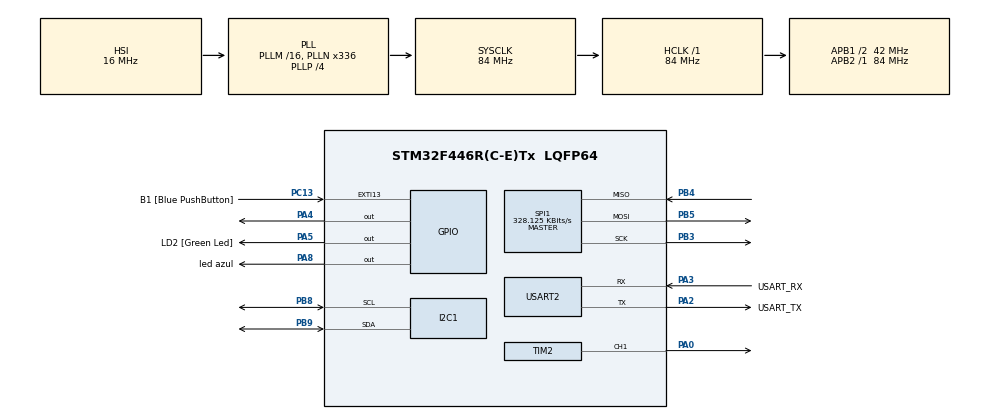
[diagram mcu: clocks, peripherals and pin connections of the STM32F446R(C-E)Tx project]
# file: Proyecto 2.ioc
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Mcu.Family=STM32F4
Mcu.Name=STM32F446R(C-E)Tx
Mcu.Package=LQFP64
NVIC.PriorityGroup=NVIC_PRIORITYGROUP_0
NVIC.USART2_IRQn=true\:0\:0\:false\:false\:true\:true\:true\:true
PA0-WKUP.Signal=S_TIM2_CH1_ETR
PA13.GPIO_Label=TMS
PA13.Signal=SYS_JTMS-SWDIO
PA14.GPIO_Label=TCK
PA14.Signal=SYS_JTCK-SWCLK
PA2.GPIO_Label=USART_TX
PA2.Mode=Asynchronous
PA2.Signal=USART2_TX
PA3.GPIO_Label=USART_RX
PA3.Mode=Asynchronous
PA3.Signal=USART2_RX
PA4.PinState=GPIO_PIN_SET
PA4.Signal=GPIO_Output
PA5.GPIO_Label=LD2 [Green Led]
PA5.Signal=GPIO_Output
PA8.GPIO_Label=led azul
PA8.Signal=GPIO_Output
PB3.Mode=Full_Duplex_Master
PB3.Signal=SPI1_SCK
PB4.Mode=Full_Duplex_Master
PB4.Signal=SPI1_MISO
PB5.Mode=Full_Duplex_Master
PB5.Signal=SPI1_MOSI
PB8.GPIO_Pu=GPIO_NOPULL
PB8.Mode=I2C
PB8.Signal=I2C1_SCL
PB9.GPIO_Pu=GPIO_NOPULL
PB9.Mode=I2C
PB9.Signal=I2C1_SDA
PC13.GPIO_Label=B1 [Blue PushButton]
PC13.GPIO_ModeDefaultEXTI=GPIO_MODE_IT_FALLING
PC13.Signal=GPXTI13
PC14-OSC32_IN.Signal=RCC_OSC32_IN
PC15-OSC32_OUT.Signal=RCC_OSC32_OUT
PH0-OSC_IN.Signal=RCC_OSC_IN
PH1-OSC_OUT.Signal=RCC_OSC_OUT
ProjectManager.HeapSize=0x200
ProjectManager.StackSize=0x400
ProjectManager.TargetToolchain=STM32CubeIDE
RCC.AHBFreq_Value=84000000
RCC.APB1CLKDivider=RCC_HCLK_DIV2
RCC.APB1Freq_Value=42000000
RCC.APB1TimFreq_Value=84000000
RCC.APB2Freq_Value=84000000
RCC.APB2TimFreq_Value=84000000
RCC.CortexFreq_Value=84000000
RCC.FLatency-AdvancedSettings=FLASH_LATENCY_2
RCC.HCLKFreq_Value=84000000
RCC.HSE_VALUE=8000000
RCC.HSI_VALUE=16000000
RCC.LSE_VALUE=32768
RCC.PLLN=336
RCC.PLLP=RCC_PLLP_DIV4
RCC.SYSCLKFreq_VALUE=84000000
RCC.SYSCLKSource=RCC_SYSCLKSOURCE_PLLCLK
RCC.USBFreq_Value=168000000
RCC.VCOOutputFreq_Value=336000000
SH.S_TIM2_CH1_ETR.0=TIM2_CH1,PWM Generation1 CH1
SPI1.BaudRatePrescaler=SPI_BAUDRATEPRESCALER_256
SPI1.CalculateBaudRate=328.125 KBits/s
SPI1.Direction=SPI_DIRECTION_2LINES
SPI1.Mode=SPI_MODE_MASTER
SPI1.VirtualType=VM_MASTER
TIM2.Channel-PWM\ Generation1\ CH1=TIM_CHANNEL_1
TIM2.Period=9999
TIM2.Prescaler=8399
TIM2.Pulse-PWM\ Generation1\ CH1=5000
USART2.VirtualMode=VM_ASYNC
VP_TIM2_VS_ClockSourceINT.Mode=Internal
board=NUCLEO-F446RE

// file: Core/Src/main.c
/* USER CODE BEGIN Header */
/**
  ******************************************************************************
  * @file           : main.c
  * @brief          : Main program body
  ******************************************************************************
  * @attention
  *
  * Copyright (c) 2026 STMicroelectronics.
  * All rights reserved.
  *
  * This software is licensed under terms that can be found in the LICENSE file
  * in the root directory of this software component.
  * If no LICENSE file comes with this software, it is provided AS-IS.
  *
  ******************************************************************************
  */
/* USER CODE END Header */
#include "main.h"

/* USER CODE BEGIN Includes */
#include <stdio.h>
#include <string.h>
/* USER CODE END Includes */

I2C_HandleTypeDef hi2c1;

SPI_HandleTypeDef hspi1;

TIM_HandleTypeDef htim2;

UART_HandleTypeDef huart2;

/* USER CODE BEGIN PV */

uint8_t dato;

volatile uint8_t comando = 0;
volatile uint8_t estado = 0;
volatile uint8_t indiceSPI = 0;
volatile uint32_t ultimoCaracter = 0;

char textoSPI[24];

uint8_t datosI2C[2];
uint16_t valorADC = 0;

/* USER CODE END PV */

void SystemClock_Config(void);
static void MX_GPIO_Init(void);
static void MX_I2C1_Init(void);
static void MX_SPI1_Init(void);
static void MX_TIM2_Init(void);
static void MX_USART2_UART_Init(void);
/* USER CODE BEGIN PFP */
void menu(void);
void leerpot(void);
void procesarSPI (void);
void enviarSPI(uint8_t led, uint16_t tiempo);
void configurarTimer(uint16_t tiempo);
/* USER CODE END PFP */

int main(void)
{

  /* MCU Configuration--------------------------------------------------------*/

  /* Reset of all peripherals, Initializes the Flash interface and the Systick. */
  HAL_Init();

  /* Configure the system clock */
  SystemClock_Config();

  /* Initialize all configured peripherals */
  MX_GPIO_Init();
  MX_I2C1_Init();
  MX_SPI1_Init();
  MX_TIM2_Init();
  MX_USART2_UART_Init();
  /* USER CODE BEGIN 2 */
  HAL_GPIO_WritePin(GPIOA, GPIO_PIN_4, GPIO_PIN_SET);
  HAL_UART_Receive_IT(&huart2, &dato, 1);
  menu();
  /* USER CODE END 2 */

  /* Infinite loop */
  /* USER CODE BEGIN WHILE */
  while (1)
  {
	  // OPCION 1: CONTROLAR LEDS POR SPI
		      if (comando == 1)
		      {
		          comando = 0;

		          char mensaje[] =
		              "\r\n===== CONTROL DE LEDS =====\r\n"
		              "1. LED Rojo\r\n"
		              "2. LED Verde\r\n"
		              "3. LED Azul\r\n"
		              "\r\nFormato: LED,tiempo(ms)\r\n"
		              "Ejemplo: 1,500\r\n"
		              "Ingrese comando: ";

		          HAL_UART_Transmit(&huart2,(uint8_t*)mensaje,strlen(mensaje), 100);
		      }

		      // OPCION 2: LECTURA I2C
		      if (comando == 2)
		      {
		          comando = 0;
		          leerpot();
		          menu();
		      }

		      // DETECTAR FINAL DEL COMANDO
		      if (estado == 1 && indiceSPI > 0)
		      {
		          if ((uint32_t)(HAL_GetTick() -ultimoCaracter) >= 150)
		          {
		              estado = 2;
		          }
		      }

		      // EJECUTAR COMANDO SPI Y ACTUALIZAR TIMER
		      if (estado == 2)
		      {
		          estado = 3;
		          textoSPI[indiceSPI] = '\0';
		          procesarSPI();
		          indiceSPI = 0;
		          estado = 0;
		          menu();
		      }

		      // COMANDO DEMASIADO LARGO
		      if (estado == 4)
		      {
		          estado = 3;

		          char mensaje[] =
		              "\r\nComando muy largo\r\n";

		          HAL_UART_Transmit(&huart2,(uint8_t*)mensaje,strlen(mensaje), 100);
		          indiceSPI = 0;
		          estado = 0;

		          menu();
		      }
    /* USER CODE END WHILE */

  }
}

void SystemClock_Config(void)
{
  RCC_OscInitTypeDef RCC_OscInitStruct = {0};
  RCC_ClkInitTypeDef RCC_ClkInitStruct = {0};

  /** Configure the main internal regulator output voltage
  */
  __HAL_RCC_PWR_CLK_ENABLE();
  __HAL_PWR_VOLTAGESCALING_CONFIG(PWR_REGULATOR_VOLTAGE_SCALE3);

  /** Initializes the RCC Oscillators according to the specified parameters
  * in the RCC_OscInitTypeDef structure.
  */
  RCC_OscInitStruct.OscillatorType = RCC_OSCILLATORTYPE_HSI;
  RCC_OscInitStruct.HSIState = RCC_HSI_ON;
  RCC_OscInitStruct.HSICalibrationValue = RCC_HSICALIBRATION_DEFAULT;
  RCC_OscInitStruct.PLL.PLLState = RCC_PLL_ON;
  RCC_OscInitStruct.PLL.PLLSource = RCC_PLLSOURCE_HSI;
  RCC_OscInitStruct.PLL.PLLM = 16;
  RCC_OscInitStruct.PLL.PLLN = 336;
  RCC_OscInitStruct.PLL.PLLP = RCC_PLLP_DIV4;
  RCC_OscInitStruct.PLL.PLLQ = 2;
  RCC_OscInitStruct.PLL.PLLR = 2;
  if (HAL_RCC_OscConfig(&RCC_OscInitStruct) != HAL_OK)
  {
    Error_Handler();
  }

  /** Initializes the CPU, AHB and APB buses clocks
  */
  RCC_ClkInitStruct.ClockType = RCC_CLOCKTYPE_HCLK|RCC_CLOCKTYPE_SYSCLK
                              |RCC_CLOCKTYPE_PCLK1|RCC_CLOCKTYPE_PCLK2;
  RCC_ClkInitStruct.SYSCLKSource = RCC_SYSCLKSOURCE_PLLCLK;
  RCC_ClkInitStruct.AHBCLKDivider = RCC_SYSCLK_DIV1;
  RCC_ClkInitStruct.APB1CLKDivider = RCC_HCLK_DIV2;
  RCC_ClkInitStruct.APB2CLKDivider = RCC_HCLK_DIV1;

  if (HAL_RCC_ClockConfig(&RCC_ClkInitStruct, FLASH_LATENCY_2) != HAL_OK)
  {
    Error_Handler();
  }
}

static void MX_I2C1_Init(void)
{

  hi2c1.Instance = I2C1;
  hi2c1.Init.ClockSpeed = 100000;
  hi2c1.Init.DutyCycle = I2C_DUTYCYCLE_2;
  hi2c1.Init.OwnAddress1 = 0;
  hi2c1.Init.AddressingMode = I2C_ADDRESSINGMODE_7BIT;
  hi2c1.Init.DualAddressMode = I2C_DUALADDRESS_DISABLE;
  hi2c1.Init.OwnAddress2 = 0;
  hi2c1.Init.GeneralCallMode = I2C_GENERALCALL_DISABLE;
  hi2c1.Init.NoStretchMode = I2C_NOSTRETCH_DISABLE;
  if (HAL_I2C_Init(&hi2c1) != HAL_OK)
  {
    Error_Handler();
  }

}

static void MX_SPI1_Init(void)
{

  /* SPI1 parameter configuration*/
  hspi1.Instance = SPI1;
  hspi1.Init.Mode = SPI_MODE_MASTER;
  hspi1.Init.Direction = SPI_DIRECTION_2LINES;
  hspi1.Init.DataSize = SPI_DATASIZE_8BIT;
  hspi1.Init.CLKPolarity = SPI_POLARITY_LOW;
  hspi1.Init.CLKPhase = SPI_PHASE_1EDGE;
  hspi1.Init.NSS = SPI_NSS_SOFT;
  hspi1.Init.BaudRatePrescaler = SPI_BAUDRATEPRESCALER_256;
  hspi1.Init.FirstBit = SPI_FIRSTBIT_MSB;
  hspi1.Init.TIMode = SPI_TIMODE_DISABLE;
  hspi1.Init.CRCCalculation = SPI_CRCCALCULATION_DISABLE;
  hspi1.Init.CRCPolynomial = 10;
  if (HAL_SPI_Init(&hspi1) != HAL_OK)
  {
    Error_Handler();
  }

}

static void MX_TIM2_Init(void)
{

  TIM_ClockConfigTypeDef sClockSourceConfig = {0};
  TIM_MasterConfigTypeDef sMasterConfig = {0};
  TIM_OC_InitTypeDef sConfigOC = {0};

  htim2.Instance = TIM2;
  htim2.Init.Prescaler = 8399;
  htim2.Init.CounterMode = TIM_COUNTERMODE_UP;
  htim2.Init.Period = 9999;
  htim2.Init.ClockDivision = TIM_CLOCKDIVISION_DIV1;
  htim2.Init.AutoReloadPreload = TIM_AUTORELOAD_PRELOAD_DISABLE;
  if (HAL_TIM_Base_Init(&htim2) != HAL_OK)
  {
    Error_Handler();
  }
  sClockSourceConfig.ClockSource = TIM_CLOCKSOURCE_INTERNAL;
  if (HAL_TIM_ConfigClockSource(&htim2, &sClockSourceConfig) != HAL_OK)
  {
    Error_Handler();
  }
  if (HAL_TIM_PWM_Init(&htim2) != HAL_OK)
  {
    Error_Handler();
  }
  sMasterConfig.MasterOutputTrigger = TIM_TRGO_RESET;
  sMasterConfig.MasterSlaveMode = TIM_MASTERSLAVEMODE_DISABLE;
  if (HAL_TIMEx_MasterConfigSynchronization(&htim2, &sMasterConfig) != HAL_OK)
  {
    Error_Handler();
  }
  sConfigOC.OCMode = TIM_OCMODE_PWM1;
  sConfigOC.Pulse = 5000;
  sConfigOC.OCPolarity = TIM_OCPOLARITY_HIGH;
  sConfigOC.OCFastMode = TIM_OCFAST_DISABLE;
  if (HAL_TIM_PWM_ConfigChannel(&htim2, &sConfigOC, TIM_CHANNEL_1) != HAL_OK)
  {
    Error_Handler();
  }
  HAL_TIM_MspPostInit(&htim2);

}

static void MX_USART2_UART_Init(void)
{

  huart2.Instance = USART2;
  huart2.Init.BaudRate = 115200;
  huart2.Init.WordLength = UART_WORDLENGTH_8B;
  huart2.Init.StopBits = UART_STOPBITS_1;
  huart2.Init.Parity = UART_PARITY_NONE;
  huart2.Init.Mode = UART_MODE_TX_RX;
  huart2.Init.HwFlowCtl = UART_HWCONTROL_NONE;
  huart2.Init.OverSampling = UART_OVERSAMPLING_16;
  if (HAL_UART_Init(&huart2) != HAL_OK)
  {
    Error_Handler();
  }

}

static void MX_GPIO_Init(void)
{
  GPIO_InitTypeDef GPIO_InitStruct = {0};

  /* GPIO Ports Clock Enable */
  __HAL_RCC_GPIOC_CLK_ENABLE();
  __HAL_RCC_GPIOH_CLK_ENABLE();
  __HAL_RCC_GPIOA_CLK_ENABLE();
  __HAL_RCC_GPIOB_CLK_ENABLE();

  /*Configure GPIO pin Output Level */
  HAL_GPIO_WritePin(GPIOA, GPIO_PIN_4, GPIO_PIN_SET);

  /*Configure GPIO pin Output Level */
  HAL_GPIO_WritePin(GPIOA, LD2_Pin|led_azul_Pin, GPIO_PIN_RESET);

  /*Configure GPIO pin : B1_Pin */
  GPIO_InitStruct.Pin = B1_Pin;
  GPIO_InitStruct.Mode = GPIO_MODE_IT_FALLING;
  GPIO_InitStruct.Pull = GPIO_NOPULL;
  HAL_GPIO_Init(B1_GPIO_Port, &GPIO_InitStruct);

  /*Configure GPIO pins : PA4 LD2_Pin led_azul_Pin */
  GPIO_InitStruct.Pin = GPIO_PIN_4|LD2_Pin|led_azul_Pin;
  GPIO_InitStruct.Mode = GPIO_MODE_OUTPUT_PP;
  GPIO_InitStruct.Pull = GPIO_NOPULL;
  GPIO_InitStruct.Speed = GPIO_SPEED_FREQ_LOW;
  HAL_GPIO_Init(GPIOA, &GPIO_InitStruct);

  /* USER CODE BEGIN MX_GPIO_Init_2 */
  HAL_GPIO_WritePin(GPIOA, GPIO_PIN_4, GPIO_PIN_SET);
  /* USER CODE END MX_GPIO_Init_2 */
}

/* USER CODE BEGIN 4 */

void HAL_UART_RxCpltCallback(UART_HandleTypeDef *huart)
{
    if (huart->Instance == USART2)
    {
        // MENU PRINCIPAL
        if (estado == 0 && comando == 0)
        {
            if (dato == '1')
            {
                estado = 1;
                indiceSPI = 0;
                comando = 1;
            }
            else if (dato == '2')
            {
                comando = 2;
            }
        }

        // RECIBIR COMANDO SPI
        else if (estado == 1)
        {
            if (dato == '\r' || dato == '\n')
            {
                if (indiceSPI > 0)
                {
                    estado = 2;
                }
            }
            else if (indiceSPI < sizeof(textoSPI) - 1)
            {
                textoSPI[indiceSPI] = dato;
                indiceSPI++;

                ultimoCaracter = HAL_GetTick();
            }
            else
            {
                estado = 4;
            }
        }

        HAL_UART_Receive_IT(&huart2, &dato, 1);
    }
}

void menu(void)
{
    char mensaje[] =
        "\r\n===== MENU PRINCIPAL =====\r\n"
        "1. Controlar dispositivo SPI\r\n"
        "2. Obtener medicion de sensor I2C\r\n"
        "Seleccione una opcion: ";

    HAL_UART_Transmit(&huart2, (uint8_t*)mensaje,strlen(mensaje), 100);
}

void leerpot(void)
{
    uint8_t solicitud = 1;

    // Solicitar una medicion al ESP32
    HAL_StatusTypeDef resultado;

    resultado = HAL_I2C_Master_Transmit(&hi2c1,(0x55 << 1),&solicitud,1,100);

    if (resultado != HAL_OK)
    {
        char mensaje[] =
            "\r\nError al solicitar ADC\r\n";

        HAL_UART_Transmit(&huart2,(uint8_t*)mensaje,strlen(mensaje), 100);
        return;
    }

    // Dar tiempo a preparar los dos bytes
    HAL_Delay(5);

    // Recibir la medicion
    resultado = HAL_I2C_Master_Receive( &hi2c1,(0x55 << 1),datosI2C,2,100);

    if (resultado == HAL_OK)
    {
        valorADC =((uint16_t)datosI2C[0] << 8)| datosI2C[1];

        if (valorADC <= 4095)
        {
            char mensaje[60];

            snprintf(mensaje,
                     sizeof(mensaje),
                     "\r\nADC: %u\r\n",
                     valorADC);

            HAL_UART_Transmit(&huart2,(uint8_t*)mensaje,strlen(mensaje), 100);
        }
        else
        {
            char mensaje[] =
                "\r\nLectura ADC invalida\r\n";

            HAL_UART_Transmit(&huart2,(uint8_t*)mensaje, strlen(mensaje), 100);
        }
    }
    else
    {
        char mensaje[] =
            "\r\nError de comunicacion I2C\r\n";

        HAL_UART_Transmit(&huart2,(uint8_t*)mensaje,strlen(mensaje), 100);
    }
}

void enviarSPI(uint8_t led, uint16_t tiempo)
{
    uint8_t datosSPI[4];

    datosSPI[0] = led;
    datosSPI[1] = (uint8_t)(tiempo >> 8);
    datosSPI[2] = (uint8_t)(tiempo & 0xFF);

    datosSPI[3] =datosSPI[0] ^ datosSPI[1] ^datosSPI[2] ^ 0xA5;

    // Activar CS
    HAL_GPIO_WritePin(GPIOA, GPIO_PIN_4, GPIO_PIN_RESET);
    HAL_Delay(10);

    HAL_StatusTypeDef resultado =HAL_SPI_Transmit(&hspi1, datosSPI, 4, 1000);
    // Desactivar CS
    HAL_GPIO_WritePin(GPIOA, GPIO_PIN_4, GPIO_PIN_SET);
    if (resultado == HAL_OK)
    {
        char mensaje[] = "\r\nComando SPI transmitido\r\n";

        HAL_UART_Transmit(&huart2, (uint8_t*)mensaje,strlen(mensaje), 100);
    }
    else
    {
        char mensaje[] = "\r\nError de transmision SPI\r\n";

        HAL_UART_Transmit(&huart2,(uint8_t*)mensaje, strlen(mensaje), 100);
    }
}

void procesarSPI(void)
{
    unsigned int led;
    unsigned long tiempo;
    char extra;

    int resultado = sscanf(textoSPI,"%u,%lu %c",&led,&tiempo,&extra);

    if (resultado == 2 &&led >= 1 && led <= 3 &&tiempo >= 1 && tiempo <= 60000)
    {
        enviarSPI((uint8_t)led, (uint16_t)tiempo);

        configurarTimer((uint16_t)tiempo);
    }

    else
    {
        char mensaje[] =
            "\r\nComando invalido\r\n"
            "Ejemplo: 1,500\r\n";

        HAL_UART_Transmit(&huart2, (uint8_t*)mensaje,strlen(mensaje), 100);
    }
}

void configurarTimer(uint16_t tiempo)
{
    uint32_t alto = (uint32_t)tiempo * 10;
    uint32_t periodo = alto * 2;
    HAL_TIM_PWM_Stop(&htim2, TIM_CHANNEL_1);
    __HAL_TIM_SET_COMPARE (&htim2, TIM_CHANNEL_1,alto);
    __HAL_TIM_SET_AUTORELOAD (&htim2, periodo -1);
    __HAL_TIM_SET_COUNTER (&htim2, 0);
    htim2.Instance->EGR = TIM_EGR_UG;
    HAL_TIM_PWM_Start(&htim2, TIM_CHANNEL_1);
}

/* USER CODE END 4 */

void Error_Handler(void)
{
  __disable_irq();
  while (1)
  {
  }
}
